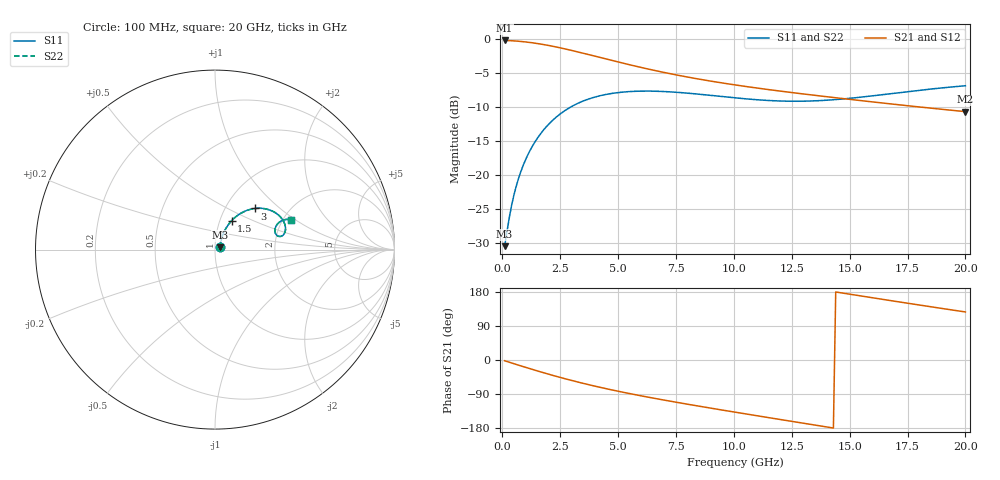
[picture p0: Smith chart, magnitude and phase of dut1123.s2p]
! Touchstone file exported from HFSS 2024.1.0
!  File:  C:/UserFiles/LocalFiles/RDL_TSV_Batchsim/temp_RDL_TSV_1123_1780107105.aedt
!  Generated:  10:24:28 AM May 30, 2026
!  Design:  RDL_TSV
!  Project:  temp_RDL_TSV_1123_1780107105
!  Setup:  Setup1
!  Solution:  Sweep
! Variables:
!  dtsv = 5.33um
!  hbump = 3um
!  htsv = 76.36um
!  ldown = 298.26um
!  lrdl = 628.6um
!  p = 40
!  p1 = 58.27um
!  rhole = 10um
!  subl = 3409.18um
!  t = 450um
!  tdown = 3.59um
!  trdl = 3.14um
!  viad = 10um
!  wdown = 12.52um
!  wrdl = 15.05um
!  xbump = 18um
# GHz S MA R 50.000000
! Terminal data exported
! Port[1] = TM1_1_T1
! Port[2] = TM1_4_T1
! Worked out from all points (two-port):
!   200 points, 100 MHz to 20 GHz, reference 50 ohm
!   highest |S21| = -0.24 dB at 100 MHz (marker M1); lowest = -10.7 dB at 20 GHz (marker M2)
!   |S21| within 3 dB of the highest: start of sweep to 4.815 GHz
!   lowest |S11| = -30.4 dB at 100 MHz (marker M3), VSWR 1.06, Z = 52.8 + j1.35 ohm
!   |S11| at or under -10 dB: start of sweep to 2.955 GHz
!   |S22| runs from -30.4 to -6.9 dB; largest |S21 - S12| = 2e-14
!   S11 on the Smith chart (normalised r, x): 100 MHz: 1.06, +0.03; 1.5 GHz: 1.14, +0.38; 3 GHz: 1.37, +0.70; 20 GHz: 2.19, +0.92
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0.1  0.03018 25.1  0.9728 -2.0  0.9728 -2.0  0.03018 25.1
! Gamma 0 0 0 0
! Port Impedance 50 0 50 0
0.3  0.04864 50.8  0.9701 -5.9  0.9701 -5.9  0.04864 50.8
0.4  0.05981 56.1  0.9681 -7.9  0.9681 -7.9  0.05981 56.1
0.5  0.07129 59.2  0.9657 -9.8  0.9657 -9.8  0.07129 59.2
0.7  0.09454 62.1  0.9599 -13.6  0.9599 -13.6  0.09454 62.1
1.1  0.1407 62.6  0.9447 -21.2  0.9447 -21.2  0.1407 62.6
1.5  0.185 60.2  0.9247 -28.5  0.9247 -28.5  0.185 60.2
2.2  0.2551 53.9  0.8805 -40.9  0.8805 -40.9  0.2551 53.9
3  0.3194 45.8  0.8217 -54.1  0.8217 -54.1  0.3194 45.9
3.5  0.3503 40.9  0.7836 -61.8  0.7836 -61.8  0.3503 41.0
4.2  0.3818 34.6  0.7315 -71.8  0.7315 -71.8  0.3819 34.6
5.1  0.4052 27.5  0.67 -83.7  0.67 -83.7  0.4053 27.6
5.9  0.4132 22.3  0.6219 -93.5  0.6219 -93.5  0.4133 22.4
6.8  0.4119 17.7  0.5754 -103.7  0.5754 -103.7  0.4121 17.8
8.4  0.394 12.7  0.5098 -120.9  0.5098 -120.9  0.3943 12.7
10.1  0.3685 11.4  0.4579 -138.2  0.4579 -138.2  0.3689 11.4
11.7  0.3516 13.5  0.42 -154.0  0.42 -154.0  0.352 13.5
13.4  0.3504 17.7  0.3869 -170.8  0.3869 -170.8  0.3508 17.7
15  0.3662 21.3  0.3599 173.7  0.3599 173.7  0.3666 21.3
16.7  0.3947 23.2  0.3343 157.4  0.3343 157.4  0.3951 23.2
18.3  0.4246 23.2  0.3127 142.4  0.3127 142.4  0.425 23.2
20  0.4527 21.7  0.2926 126.8  0.2926 126.8  0.4531 21.7
